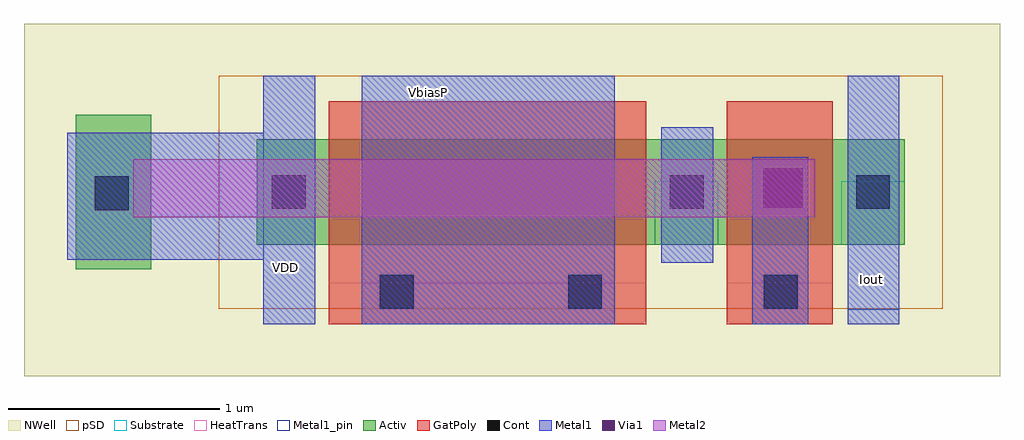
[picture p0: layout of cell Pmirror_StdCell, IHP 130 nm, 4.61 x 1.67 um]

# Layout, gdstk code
import gdstk
lib = gdstk.Library(unit=1e-6, precision=1e-09)
def R(c, l, rs):  # rectangles x0, y0, x1, y1
    for r in rs: c.add(gdstk.rectangle(r[:2], r[2:], *l))
Activ = (1, 0)
GatPoly = (5, 0)
Cont = (6, 0)
Metal1 = (8, 0)
Metal1_pin = (8, 2)
Metal2 = (10, 0)
pSD = (14, 0)
Via1 = (19, 0)
NWell = (31, 0)
Substrate = (40, 0)
HeatTrans = (51, 0)

pmos_1 = lib.new_cell('pmos$1')
R(pmos_1, Activ, [(0,0,0.3,0.3), (0,0,2.18,0.5), (1.88,0,2.18,0.3)])
R(pmos_1, GatPoly, [(0.34,-0.18,1.84,0.68), (0.34,-0.18,1.84,0.68)])
R(pmos_1, Cont, [(0.07,0.17,0.23,0.33), (1.95,0.17,2.11,0.33)])
R(pmos_1, Metal1, [(0.07,0,0.23,0.5), (0.07,0,0.23,0.5), (1.95,0,2.11,0.5), (1.95,0,2.11,0.5)])
R(pmos_1, pSD, [(-0.18,-0.3,2.36,0.8)])
R(pmos_1, NWell, [(-0.31,-0.31,2.49,0.81)])
R(pmos_1, Substrate, [(1.88,0,2.18,0.3)])
R(pmos_1, HeatTrans, [(0.34,-0.18,1.84,0.68)])
pmos_1.add(gdstk.Label('pmos', (1.09,0.25), layer=63, texttype=0))
pmos_1.add(gdstk.Label('pmos', (1.09,0.25), layer=51, texttype=0))

pmos_2 = lib.new_cell('pmos$2')
R(pmos_2, Activ, [(0,0,0.3,0.3), (0,0,1.18,0.5), (0.88,0,1.18,0.3)])
R(pmos_2, GatPoly, [(0.34,-0.18,0.84,0.68), (0.34,-0.18,0.84,0.68)])
R(pmos_2, Cont, [(0.07,0.17,0.23,0.33), (0.95,0.17,1.11,0.33)])
R(pmos_2, Metal1, [(0.07,0,0.23,0.5), (0.07,0,0.23,0.5), (0.95,0,1.11,0.5), (0.95,0,1.11,0.5)])
R(pmos_2, pSD, [(-0.18,-0.3,1.36,0.8)])
R(pmos_2, NWell, [(-0.31,-0.31,1.49,0.81)])
R(pmos_2, Substrate, [(0.88,0,1.18,0.3)])
R(pmos_2, HeatTrans, [(0.34,-0.18,0.84,0.68)])
pmos_2.add(gdstk.Label('pmos', (0.59,0.25), layer=63, texttype=0))
pmos_2.add(gdstk.Label('pmos', (0.59,0.25), layer=51, texttype=0))

pmirror_stdcell = lib.new_cell('Pmirror_StdCell')
R(pmirror_stdcell, Activ, [(-0.87,-2.475,-0.515,-1.745)])
R(pmirror_stdcell, GatPoly, [(0.325,-2.735,1.825,-1.68), (2.205,-2.735,2.705,-2.49)])
R(pmirror_stdcell, Cont, [(0.565,-2.66,0.725,-2.5), (1.455,-2.66,1.615,-2.5), (2.38,-2.66,2.54,-2.5), (-0.78,-2.195,-0.62,-2.035), (0.055,-2.19,0.215,-2.03), (2.815,-2.19,2.975,-2.03)])
R(pmirror_stdcell, Metal1, [(0.015,-2.735,0.26,-1.56), (0.48,-2.735,1.675,-1.56), (2.325,-2.735,2.59,-1.945), (2.775,-2.735,3.02,-1.56), (1.895,-2.445,2.14,-1.805), (-0.91,-2.43,0.035,-1.83)])
R(pmirror_stdcell, Metal1_pin, [(0.015,-2.735,0.26,-1.56), (0.48,-2.735,1.675,-1.56), (2.775,-2.665,3.02,-1.56)])
R(pmirror_stdcell, Metal2, [(-0.6,-2.23,2.62,-1.955)])
R(pmirror_stdcell, Via1, [(2.375,-2.185,2.565,-1.995)])
R(pmirror_stdcell, NWell, [(-1.115,-2.98,3.495,-1.315)])
pmirror_stdcell.add(gdstk.Reference(pmos_1, (-0.015,-2.36)))
pmirror_stdcell.add(gdstk.Reference(pmos_2, (1.865,-2.36)))
pmirror_stdcell.add(gdstk.Label('Iout', (2.89,-2.525), layer=8, texttype=25))
pmirror_stdcell.add(gdstk.Label('VDD', (0.12,-2.465), layer=8, texttype=25))
pmirror_stdcell.add(gdstk.Label('VbiasP', (0.795,-1.64), layer=8, texttype=25))

lib.write_gds('Pmirror_StdCell.gds')
